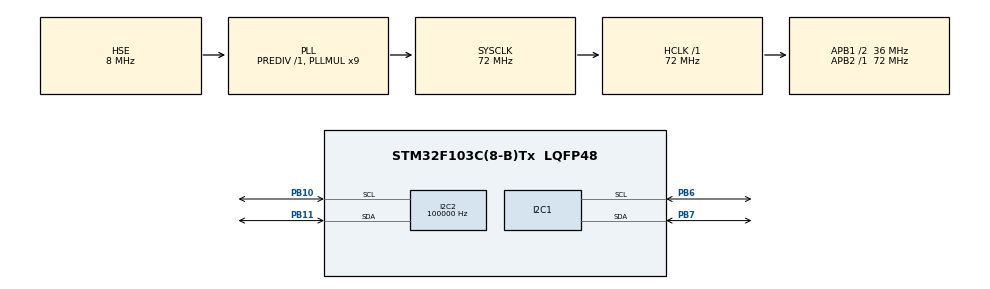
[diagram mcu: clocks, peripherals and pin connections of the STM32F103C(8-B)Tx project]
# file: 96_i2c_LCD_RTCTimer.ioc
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I2C2.ClockSpeed=100000
Mcu.Family=STM32F1
Mcu.Name=STM32F103C(8-B)Tx
Mcu.Package=LQFP48
NVIC.PriorityGroup=NVIC_PRIORITYGROUP_4
PA13.Mode=Serial_Wire
PA13.Signal=SYS_JTMS-SWDIO
PA14.Mode=Serial_Wire
PA14.Signal=SYS_JTCK-SWCLK
PB10.Mode=I2C
PB10.Signal=I2C2_SCL
PB11.Mode=I2C
PB11.Signal=I2C2_SDA
PB6.Mode=I2C
PB6.Signal=I2C1_SCL
PB7.Mode=I2C
PB7.Signal=I2C1_SDA
PD0-OSC_IN.Mode=HSE-External-Oscillator
PD0-OSC_IN.Signal=RCC_OSC_IN
PD1-OSC_OUT.Mode=HSE-External-Oscillator
PD1-OSC_OUT.Signal=RCC_OSC_OUT
ProjectManager.HeapSize=0x200
ProjectManager.StackSize=0x400
ProjectManager.TargetToolchain=STM32CubeIDE
RCC.AHBFreq_Value=72000000
RCC.APB1CLKDivider=RCC_HCLK_DIV2
RCC.APB1Freq_Value=36000000
RCC.APB1TimFreq_Value=72000000
RCC.APB2Freq_Value=72000000
RCC.APB2TimFreq_Value=72000000
RCC.HCLKFreq_Value=72000000
RCC.PLLMUL=RCC_PLL_MUL9
RCC.PLLSourceVirtual=RCC_PLLSOURCE_HSE
RCC.SYSCLKFreq_VALUE=72000000
RCC.SYSCLKSource=RCC_SYSCLKSOURCE_PLLCLK
RCC.USBFreq_Value=72000000
board=custom

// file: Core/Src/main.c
/* USER CODE BEGIN Header */
/**
 ******************************************************************************
 * @file           : main.c
 * @brief          : Main program body
 ******************************************************************************
 * @attention
 *
 * Copyright (c) 2026 STMicroelectronics.
 * All rights reserved.
 *
 * This software is licensed under terms that can be found in the LICENSE file
 * in the root directory of this software component.
 * If no LICENSE file comes with this software, it is provided AS-IS.
 *
 ******************************************************************************
 */
/* USER CODE END Header */
#include "main.h"

/* USER CODE BEGIN Includes */
#include "lcd.h"
#include "ds1307.h"
#include "rtc_sync.h"
/* USER CODE END Includes */

I2C_HandleTypeDef hi2c1;
I2C_HandleTypeDef hi2c2;

/* USER CODE BEGIN PV */
static DS1307_Time g_rtc_now;
static uint32_t g_next_rtc_poll_tick;
static uint8_t g_last_displayed_second;
/* USER CODE END PV */

void SystemClock_Config(void);
static void MX_GPIO_Init(void);
static void MX_I2C1_Init(void);
static void MX_I2C2_Init(void);

/* USER CODE BEGIN 0 */

static void lcd_fill_line(char *dst, const char *src)
{
  uint8_t i = 0;

  while (i < 20U && src[i] != '\0')
  {
    dst[i] = src[i];
    i++;
  }

  while (i < 20U)
  {
    dst[i] = ' ';
    i++;
  }

  dst[20] = '\0';
}

static void lcd_print_row(uint8_t row, const char *text)
{
  char line[21];
  lcd_fill_line(line, text);
  lcd_set_cursor(row, 0);
  lcd_send_string(line);
}

static void to_2digits(char *dst, uint8_t value)
{
  dst[0] = (char)('0' + (value / 10U));
  dst[1] = (char)('0' + (value % 10U));
}

static const char *rtc_day_name(uint8_t day)
{
  static const char *names[8] = {"UNK", "S U N D A Y", "M O N D A Y", "T U E S D A Y", "W E D N E S D A Y", "T H U R S D A Y", "F R I D A Y", "S A T U R D A Y"};

  if (day > 7U)
  {
    return names[0];
  }

  return names[day];
}

static void lcd_show_rtc(const DS1307_Time *time)
{
  char line1[21] = "TIME: 00:00:00";
  char line2[21] = "DATE: 00/00/20YY";
  char line3[21] = "DAY: ";
  char line4[21] = "SYNC: BUILD +/-5s";
  const char *day_name = rtc_day_name(time->day);

  to_2digits(&line1[6], time->hours);
  to_2digits(&line1[9], time->minutes);
  to_2digits(&line1[12], time->seconds);

  to_2digits(&line2[6], time->date);
  to_2digits(&line2[9], time->month);
  to_2digits(&line2[14], time->year);

  for (uint8_t i = 0U; i < 20U && day_name[i] != '\0'; ++i)
  {
    line3[5U + i] = day_name[i];
  }

  lcd_print_row(0, line1);
  lcd_print_row(1, line2);
  lcd_print_row(2, line3);
  lcd_print_row(3, line4);
}

/* USER CODE END 0 */

int main(void)
{

  /* MCU Configuration--------------------------------------------------------*/

  /* Reset of all peripherals, Initializes the Flash interface and the Systick. */
  HAL_Init();

  /* Configure the system clock */
  SystemClock_Config();

  /* Initialize all configured peripherals */
  MX_GPIO_Init();
  MX_I2C1_Init();
  MX_I2C2_Init();
  /* USER CODE BEGIN 2 */
  lcd_init();
  lcd_clear();
  ds1307_start();
  rtc_sync_from_build_time(&g_rtc_now, 5U);
  g_last_displayed_second = 0xFFU;
  g_next_rtc_poll_tick = HAL_GetTick();
  lcd_show_rtc(&g_rtc_now);
  g_last_displayed_second = g_rtc_now.seconds;
  /* USER CODE END 2 */

  /* Infinite loop */
  while (1)
  {
    if (HAL_GetTick() >= g_next_rtc_poll_tick)
    {
      g_next_rtc_poll_tick += 200U;
      ds1307_get_time(&g_rtc_now);

      if (g_rtc_now.seconds != g_last_displayed_second)
      {
        g_last_displayed_second = g_rtc_now.seconds;
        lcd_show_rtc(&g_rtc_now);
      }
    }

    HAL_Delay(10);
  }
}

void SystemClock_Config(void)
{
  RCC_OscInitTypeDef RCC_OscInitStruct = {0};
  RCC_ClkInitTypeDef RCC_ClkInitStruct = {0};

  /** Initializes the RCC Oscillators according to the specified parameters
   * in the RCC_OscInitTypeDef structure.
   */
  RCC_OscInitStruct.OscillatorType = RCC_OSCILLATORTYPE_HSE;
  RCC_OscInitStruct.HSEState = RCC_HSE_ON;
  RCC_OscInitStruct.HSEPredivValue = RCC_HSE_PREDIV_DIV1;
  RCC_OscInitStruct.HSIState = RCC_HSI_ON;
  RCC_OscInitStruct.PLL.PLLState = RCC_PLL_ON;
  RCC_OscInitStruct.PLL.PLLSource = RCC_PLLSOURCE_HSE;
  RCC_OscInitStruct.PLL.PLLMUL = RCC_PLL_MUL9;
  if (HAL_RCC_OscConfig(&RCC_OscInitStruct) != HAL_OK)
  {
    Error_Handler();
  }

  /** Initializes the CPU, AHB and APB buses clocks
   */
  RCC_ClkInitStruct.ClockType = RCC_CLOCKTYPE_HCLK | RCC_CLOCKTYPE_SYSCLK | RCC_CLOCKTYPE_PCLK1 | RCC_CLOCKTYPE_PCLK2;
  RCC_ClkInitStruct.SYSCLKSource = RCC_SYSCLKSOURCE_PLLCLK;
  RCC_ClkInitStruct.AHBCLKDivider = RCC_SYSCLK_DIV1;
  RCC_ClkInitStruct.APB1CLKDivider = RCC_HCLK_DIV2;
  RCC_ClkInitStruct.APB2CLKDivider = RCC_HCLK_DIV1;

  if (HAL_RCC_ClockConfig(&RCC_ClkInitStruct, FLASH_LATENCY_2) != HAL_OK)
  {
    Error_Handler();
  }
}

static void MX_I2C1_Init(void)
{

  hi2c1.Instance = I2C1;
  hi2c1.Init.ClockSpeed = 100000;
  hi2c1.Init.DutyCycle = I2C_DUTYCYCLE_2;
  hi2c1.Init.OwnAddress1 = 0;
  hi2c1.Init.AddressingMode = I2C_ADDRESSINGMODE_7BIT;
  hi2c1.Init.DualAddressMode = I2C_DUALADDRESS_DISABLE;
  hi2c1.Init.OwnAddress2 = 0;
  hi2c1.Init.GeneralCallMode = I2C_GENERALCALL_DISABLE;
  hi2c1.Init.NoStretchMode = I2C_NOSTRETCH_DISABLE;
  if (HAL_I2C_Init(&hi2c1) != HAL_OK)
  {
    Error_Handler();
  }
}

static void MX_I2C2_Init(void)
{

  hi2c2.Instance = I2C2;
  hi2c2.Init.ClockSpeed = 100000;
  hi2c2.Init.DutyCycle = I2C_DUTYCYCLE_2;
  hi2c2.Init.OwnAddress1 = 0;
  hi2c2.Init.AddressingMode = I2C_ADDRESSINGMODE_7BIT;
  hi2c2.Init.DualAddressMode = I2C_DUALADDRESS_DISABLE;
  hi2c2.Init.OwnAddress2 = 0;
  hi2c2.Init.GeneralCallMode = I2C_GENERALCALL_DISABLE;
  hi2c2.Init.NoStretchMode = I2C_NOSTRETCH_DISABLE;
  if (HAL_I2C_Init(&hi2c2) != HAL_OK)
  {
    Error_Handler();
  }
}

static void MX_GPIO_Init(void)
{

  /* GPIO Ports Clock Enable */
  __HAL_RCC_GPIOD_CLK_ENABLE();
  __HAL_RCC_GPIOB_CLK_ENABLE();
  __HAL_RCC_GPIOA_CLK_ENABLE();

}

void Error_Handler(void)
{
  __disable_irq();
  while (1)
  {
  }
}
